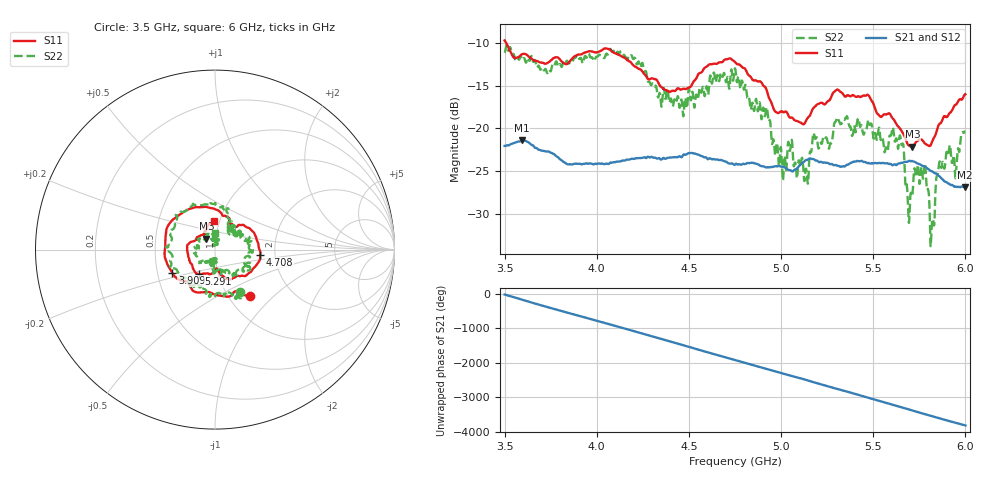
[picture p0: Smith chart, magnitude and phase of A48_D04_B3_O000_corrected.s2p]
! Created with skrf 1.9.0 (http://scikit-rf.org).
# Hz S RI R 50.0
!freq ReS11 ImS11 ReS21 ImS21 ReS12 ImS12 ReS22 ImS22
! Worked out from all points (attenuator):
!   1601 points, 3.5 GHz to 6 GHz, reference 50 ohm
!   highest |S21| = -21.42 dB at 3.592 GHz (marker M1); lowest = -26.9 dB at 5.997 GHz (marker M2)
!   lowest |S11| = -22.2 dB at 5.713 GHz (marker M3), VSWR 1.17, Z = 45.1 + j5.55 ohm
!   |S11| at or under -10 dB: 3.508 GHz to end of sweep
!   |S22| runs from -33.8 to -10.3 dB; largest |S21 - S12| = 0.00099
!   S11 on the Smith chart (normalised r, x): 3.5 GHz: 1.25, -0.73; 3.909 GHz: 0.60, -0.17; 4.708 GHz: 1.67, -0.11; 5.291 GHz: 0.81, -0.23; 6 GHz: 0.94, +0.30
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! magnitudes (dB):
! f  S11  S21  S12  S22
! 3.5 GHz  -9.7  -22.1  -22.0  -11.1
! 3.592 GHz  -11.4  -21.4  -21.4  -11.8
! 3.909 GHz  -11.4  -24.2  -24.1  -11.8
! 3.917 GHz  -11.3  -24.2  -24.2  -11.9
! 4.195 GHz  -12.6  -23.6  -23.5  -11.8
! 4.334 GHz  -14.7  -23.5  -23.4  -16.4
! 4.708 GHz  -11.9  -24.0  -23.9  -14.0
! 4.75 GHz  -12.2  -24.3  -24.2  -13.0
! 5.017 GHz  -18.1  -24.6  -24.5  -23.6
! 5.048 GHz  -18.7  -24.9  -24.9  -22.6
! 5.136 GHz  -19.1  -23.7  -23.6  -24.7
! 5.167 GHz  -17.9  -23.6  -23.5  -22.2
! 5.291 GHz  -15.7  -24.3  -24.3  -19.3
! 5.584 GHz  -18.2  -24.2  -24.1  -21.5
! 5.653 GHz  -20.3  -24.0  -24.0  -21.9
! 5.686 GHz  -21.8  -23.9  -23.9  -27.8
! 5.713 GHz  -22.2  -23.8  -23.7  -27.8
! 5.773 GHz  -21.6  -24.4  -24.4  -25.3
! 5.82 GHz  -21.5  -25.0  -25.0  -30.8
! 5.853 GHz  -19.7  -25.5  -25.4  -24.9
! 5.997 GHz  -16.0  -26.9  -26.8  -20.4
! 6 GHz  -16.0  -26.9  -26.8  -20.5
